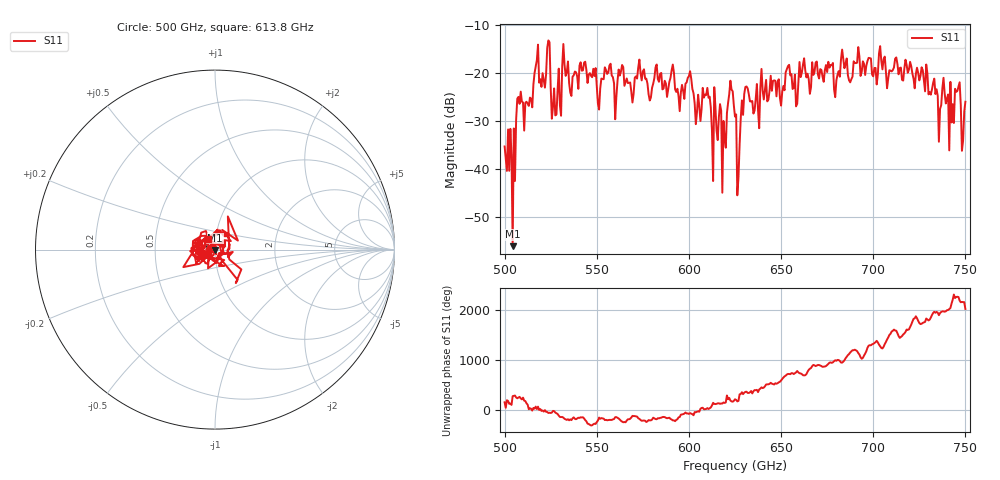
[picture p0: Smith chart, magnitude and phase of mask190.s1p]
!Created with skrf (http://scikit-rf.org).
# GHz S MA R 50.0
!freq magS11 angS11
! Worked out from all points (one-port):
!   401 points, 500 GHz to 750 GHz, reference 50 ohm
!   lowest |S11| = -56.1 dB at 504.4 GHz (marker M1), VSWR 1.00, Z = 50 - j0.154 ohm
!   |S11| at or under -10 dB: start of sweep to end of sweep
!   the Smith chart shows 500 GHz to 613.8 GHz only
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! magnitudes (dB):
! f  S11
! 500 GHz  -35.3
! 504.4 GHz  -56.1
! 507.5 GHz  -25.0
! 513.8 GHz  -25.1
! 516.9 GHz  -18.7
! 520.6 GHz  -20.0
! 523.8 GHz  -13.2
! 526.9 GHz  -23.2
! 531.2 GHz  -18.6
! 562.5 GHz  -20.5
! 579.4 GHz  -25.1
! 590.6 GHz  -19.4
! 593.8 GHz  -23.3
! 610 GHz  -23.1
! 611.9 GHz  -27.2
! 619.4 GHz  -33.8
! 623.1 GHz  -23.4
! 625 GHz  -29.1
! 626.9 GHz  -41.9
! 631.2 GHz  -22.8
! 636.9 GHz  -22.3
! 656.2 GHz  -23.3
! 680 GHz  -21.5
! 684.4 GHz  -19.0
! 687.5 GHz  -21.9
! 691.2 GHz  -17.8
! 718.8 GHz  -19.9
! 750 GHz  -26.0
